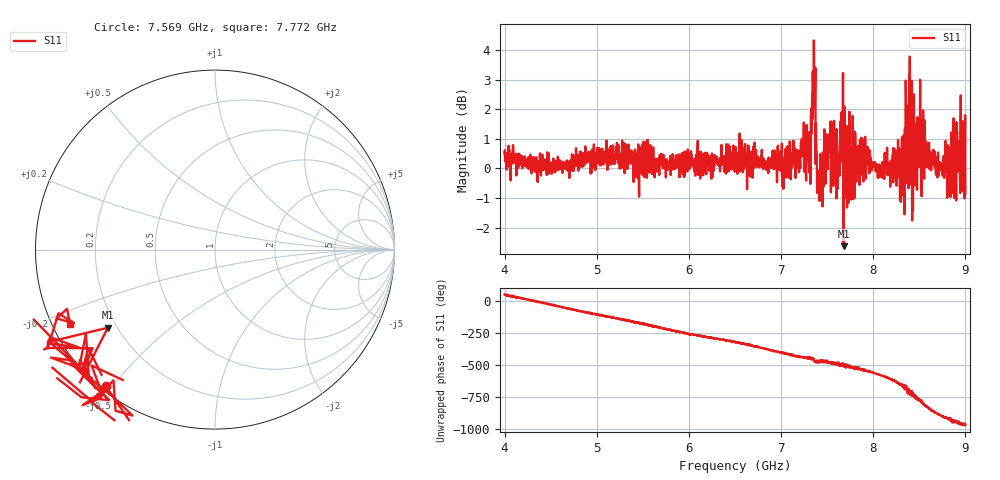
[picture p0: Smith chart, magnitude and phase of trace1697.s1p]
! Created with skrf 1.8.0 (http://scikit-rf.org).
# Hz S RI R 50.0
!freq ReS11 ImS11
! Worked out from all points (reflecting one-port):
!   1601 points, 4 GHz to 9 GHz, reference 50 ohm
!   lowest |S11| = -2.6 dB at 7.678 GHz (marker M1), VSWR 6.66, Z = 8.29 - j15.9 ohm
!   phase of S11 starts at 53 deg and turns -1021 deg over the sweep
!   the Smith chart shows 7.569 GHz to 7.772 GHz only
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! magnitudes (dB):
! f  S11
! 4 GHz  0.5
! 4.625 GHz  -0.1
! 5.25 GHz  0.0
! 5.875 GHz  0.3
! 6.5 GHz  0.3
! 7.038 GHz  0.1
! 7.125 GHz  0.3
! 7.294 GHz  0.4
! 7.328 GHz  1.2
! 7.347 GHz  2.6
! 7.369 GHz  2.9
! 7.4 GHz  -0.7
! 7.416 GHz  -1.1
! 7.512 GHz  1.0
! 7.609 GHz  0.8
! 7.65 GHz  0.7
! 7.678 GHz  -2.6
! 7.703 GHz  0.0
! 7.75 GHz  0.3
! 8.259 GHz  0.4
! 8.316 GHz  0.4
! 8.375 GHz  0.5
! 8.394 GHz  0.9
! 8.447 GHz  1.4
! 8.497 GHz  0.0
! 8.731 GHz  0.1
! 8.972 GHz  0.9
! 9 GHz  -0.9
